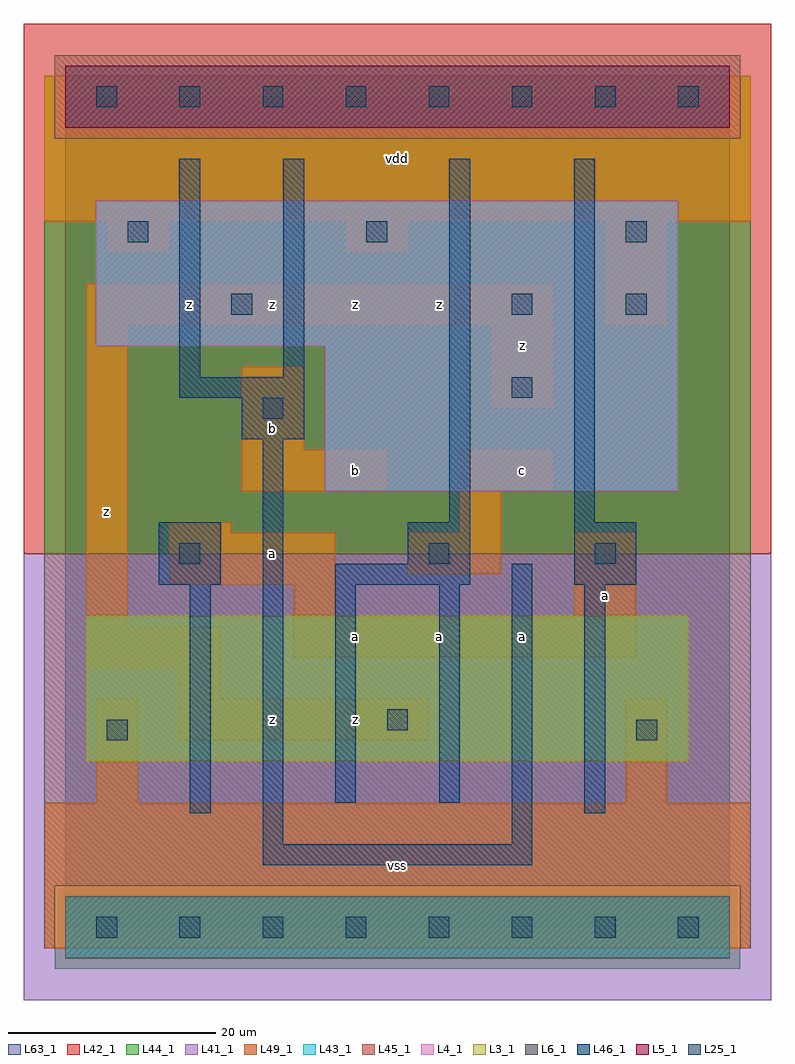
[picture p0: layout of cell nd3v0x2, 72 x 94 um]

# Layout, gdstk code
import gdstk
lib = gdstk.Library(unit=1e-6, precision=1e-09)
def R(c, l, rs):  # rectangles x0, y0, x1, y1
    for r in rs: c.add(gdstk.rectangle(r[:2], r[2:], *l))
def A(c, l, x, y, w, h, nx, ny, dx, dy):  # array of equal rectangles
    R(c, l, [(x+i*dx, y+j*dy, x+i*dx+w, y+j*dy+h) for i in range(nx) for j in range(ny)])
L3_1 = (3, 1)
L4_1 = (4, 1)
L5_1 = (5, 1)
L6_1 = (6, 1)
L25_1 = (25, 1)
L41_1 = (41, 1)
L42_1 = (42, 1)
L43_1 = (43, 1)
L44_1 = (44, 1)
L45_1 = (45, 1)
L46_1 = (46, 1)
L49_1 = (49, 1)
L63_1 = (63, 1)

nd3v0x2 = lib.new_cell('nd3v0x2')
R(nd3v0x2, L3_1, [(2,16,60,30)])
R(nd3v0x2, L4_1, [(25,42,59,56), (3,56,59,70)])
R(nd3v0x2, L5_1, [(0,77,64,83)])
R(nd3v0x2, L6_1, [(0,-3,64,3), (0,-3,64,3)])
A(nd3v0x2, L25_1, 3, -1, 2, 2, 8, 2, 8, 80)
R(nd3v0x2, L25_1, [(4,18,6,20), (55,18,57,20), (31,19,33,21), (11,35,13,37), (35,35,37,37), (51,35,53,37), (19,49,21,51), (43,51,45,53), (16,59,18,61), (43,59,45,61), (54,59,56,61), (6,66,8,68), (29,66,31,68), (54,66,56,68)])
R(nd3v0x2, L41_1, [(-4,-7,68,36)])
R(nd3v0x2, L42_1, [(-4,36,68,87)])
R(nd3v0x2, L43_1, [(0,-3,64,3), (2,16,60,30), (25,42,59,56), (3,56,59,70), (0,77,64,83)])
R(nd3v0x2, L44_1, [(-1,-4,65,4), (-2,36,66,76), (-2,76,-1,82), (65,76,66,82)])
R(nd3v0x2, L45_1, [(-2,-2,-1,4), (65,-2,66,4), (-2,4,66,36), (-1,76,65,84)])
R(nd3v0x2, L46_1, [(19,6,45,8), (19,8,21,47), (43,8,45,35), (12,11,14,33), (50,11,52,33), (26,12,28,33), (36,12,38,33), (9,33,15,39), (26,33,39,35), (49,33,55,39), (33,35,39,39), (37,39,39,74), (49,39,51,74), (17,47,23,51), (11,51,23,53), (11,53,13,74), (21,53,23,74)])
R(nd3v0x2, L49_1, [(-2,-2,66,12), (3,12,7,22), (54,12,58,22), (11,18,35,22), (11,22,15,25), (2,25,15,29), (22,26,55,30), (2,29,6,58), (22,30,26,33), (49,30,55,38), (10,33,26,38), (33,34,42,38), (10,38,16,39), (38,38,42,42), (17,42,31,46), (38,42,47,46), (17,46,23,54), (41,50,47,58), (2,58,47,62), (52,58,58,68), (4,65,10,68), (27,65,33,68), (-2,68,66,82)])
R(nd3v0x2, L63_1, [(0,0,64,80)])
nd3v0x2.add(gdstk.Label('z', (4,40), layer=49, texttype=1))
nd3v0x2.add(gdstk.Label('z', (20,20), layer=49, texttype=1))
nd3v0x2.add(gdstk.Label('a', (20,36), layer=49, texttype=1))
nd3v0x2.add(gdstk.Label('b', (20,48), layer=49, texttype=1))
nd3v0x2.add(gdstk.Label('z', (12,60), layer=49, texttype=1))
nd3v0x2.add(gdstk.Label('z', (20,60), layer=49, texttype=1))
nd3v0x2.add(gdstk.Label('vss', (32,6), layer=49, texttype=1))
nd3v0x2.add(gdstk.Label('z', (28,20), layer=49, texttype=1))
nd3v0x2.add(gdstk.Label('a', (28,28), layer=49, texttype=1))
nd3v0x2.add(gdstk.Label('a', (36,28), layer=49, texttype=1))
nd3v0x2.add(gdstk.Label('b', (28,44), layer=49, texttype=1))
nd3v0x2.add(gdstk.Label('z', (28,60), layer=49, texttype=1))
nd3v0x2.add(gdstk.Label('z', (36,60), layer=49, texttype=1))
nd3v0x2.add(gdstk.Label('vdd', (32,74), layer=49, texttype=1))
nd3v0x2.add(gdstk.Label('a', (44,28), layer=49, texttype=1))
nd3v0x2.add(gdstk.Label('c', (44,44), layer=49, texttype=1))
nd3v0x2.add(gdstk.Label('z', (44,56), layer=49, texttype=1))
nd3v0x2.add(gdstk.Label('a', (52,32), layer=49, texttype=1))

lib.write_gds('nd3v0x2.gds')
